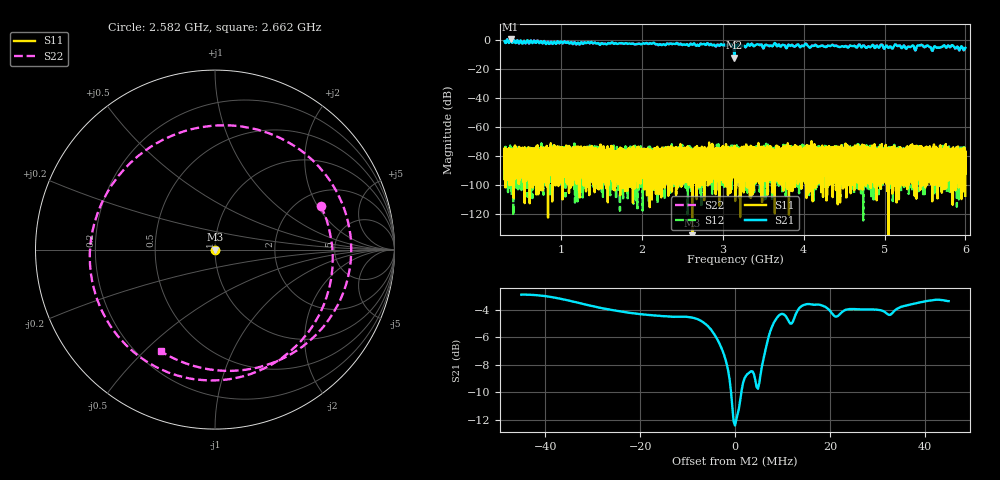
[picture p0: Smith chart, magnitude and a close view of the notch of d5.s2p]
!Agilent Technologies,N5230C,SG49000117,A.08.50.07
!Agilent N5230C: A.08.50.07
!Date: Monday, March 18, 2024 18:50:19
!Correction: S11(Off)
!S21(Off)
!S12(Off)
!S22(Off)
!S2P File: Measurements: S11, S21, S12, S22:
# Hz S  RI  R 50
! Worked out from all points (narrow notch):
!   20001 points, 300 MHz to 6 GHz, reference 50 ohm
!   highest |S21| = 0.46 dB at 374.1 MHz (marker M1); lowest = -12.4 dB at 3.14 GHz (marker M2)
!   notch at M2: 8.9 dB deep, 7.51 MHz wide at half that depth
!   lowest |S11| = -139.2 dB at 2.622 GHz (marker M3), VSWR 1.00, Z = 50 + j1.04e-05 ohm
!   |S11| at or under -10 dB: start of sweep to end of sweep
!   |S22| runs from -12.4 to 0.5 dB; largest |S21 - S12| = 1.1
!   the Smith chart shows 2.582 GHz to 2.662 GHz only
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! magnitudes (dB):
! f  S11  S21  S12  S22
! 300 MHz  -76.7  -0.9  -82.6  -0.9
! 374.1 MHz  -78.2  0.5  -77.8  0.5
! 1.25 GHz  -83.5  -1.7  -86.6  -1.7
! 2.2 GHz  -80.6  -3.7  -88.5  -3.7
! 2.622 GHz  -139.2  -3.4  -87.1  -3.4
! 3.081 GHz  -81.8  -3.3  -76.1  -3.3
! 3.14 GHz  -87.7  -12.4  -78.0  -12.4
! 3.15 GHz  -91.2  -4.3  -84.6  -4.3
! 3.181 GHz  -83.1  -3.3  -77.7  -3.3
! 3.267 GHz  -78.6  -4.5  -95.6  -4.4
! 3.333 GHz  -77.0  -4.1  -94.8  -4.0
! 3.78 GHz  -77.7  -5.5  -78.9  -5.5
! 4.028 GHz  -87.7  -2.8  -86.6  -2.6
! 4.1 GHz  -83.9  -4.2  -79.5  -4.1
! 5.05 GHz  -82.4  -5.6  -85.8  -5.5
! 5.148 GHz  -87.7  -3.8  -90.4  -3.7
! 5.384 GHz  -81.2  -7.1  -84.0  -7.1
! 5.442 GHz  -76.8  -3.7  -82.4  -3.7
! 5.542 GHz  -76.0  -4.3  -78.5  -4.3
! 5.581 GHz  -81.5  -6.6  -75.5  -6.7
! 5.832 GHz  -81.4  -3.7  -95.2  -3.8
! 6 GHz  -107.6  -5.5  -83.4  -5.5
